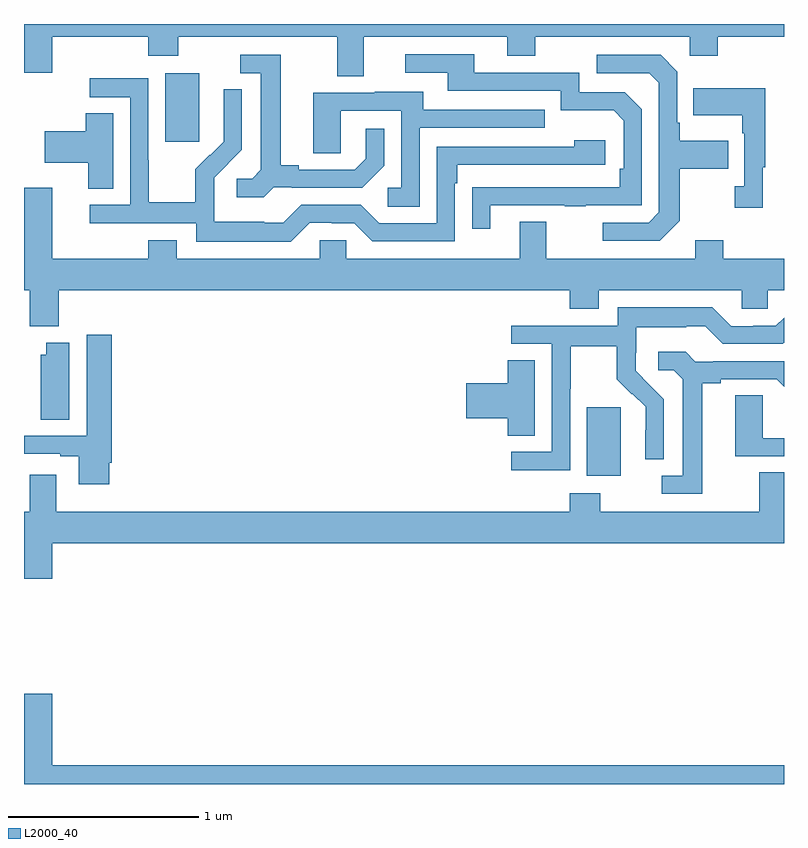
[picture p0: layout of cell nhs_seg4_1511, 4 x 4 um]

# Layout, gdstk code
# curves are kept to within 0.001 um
import gdstk
lib = gdstk.Library(unit=1e-6, precision=1e-09)
def R(c, l, rs):  # rectangles x0, y0, x1, y1
    for r in rs: c.add(gdstk.rectangle(r[:2], r[2:], *l))
def P(c, l, *ps):  # polygons
    for p in ps: c.add(gdstk.Polygon(p, *l))
L2000_40 = (2000, 40)

nhs_seg4_1511 = lib.new_cell('nhs_seg4_1511')
R(nhs_seg4_1511, L2000_40, [(191.963,782.522,192.142,782.883), (189.743,784.281,189.922,784.642)])
P(nhs_seg4_1511, L2000_40, [(190.789,784.832),(191.543,784.832),(191.543,784.733),(191.691,784.733),(191.691,784.832),(192.504,784.832),(192.504,784.733),(192.651,784.733),(192.651,784.832),(193,784.832),(193,784.9),(189,784.9),(189,784.644),(189.148,784.644),(189.148,784.832),(189.653,784.832),(189.653,784.733),(189.813,784.733),(189.813,784.832),(190.649,784.832),(190.649,784.624),(190.789,784.624)],
  [(191.455,783.945),(191.845,783.945),(191.845,783.94),(191.957,783.94),(191.957,783.945),(192.252,783.945),(192.252,784.452),(192.162,784.542),(191.922,784.542),(191.922,784.644),(191.371,784.644),(191.371,784.74),(191.007,784.74),(191.007,784.644),(191.231,784.644),(191.231,784.548),(191.826,784.548),(191.826,784.445),(192.103,784.445),(192.156,784.392),(192.156,784.138),(192.136,784.138),(192.136,784.041),(191.359,784.04),(191.359,783.822),(191.455,783.822)],
  [(190.314,784.041),(190.408,784.041),(190.408,784.038),(190.78,784.038),(190.896,784.154),(190.896,784.348),(190.799,784.348),(190.799,784.191),(190.742,784.134),(190.447,784.134),(190.447,784.157),(190.351,784.157),(190.351,784.737),(190.137,784.737),(190.137,784.641),(190.247,784.641),(190.247,784.133),(190.2,784.086),(190.119,784.086),(190.119,783.989),(190.262,783.989)],
  [(192.451,783.865),(192.451,784.138),(192.707,784.138),(192.707,784.285),(192.451,784.285),(192.451,784.381),(192.438,784.381),(192.438,784.65),(192.351,784.737),(192.015,784.737),(192.015,784.641),(192.291,784.641),(192.342,784.59),(192.342,783.909),(192.288,783.855),(192.045,783.855),(192.045,783.759),(192.345,783.759)],
  [(190.503,783.855),(190.619,783.855),(190.619,783.852),(190.737,783.852),(190.833,783.756),(191.268,783.756),(191.268,784.061),(191.281,784.061),(191.281,784.158),(192.058,784.158),(192.058,784.288),(191.897,784.288),(191.897,784.254),(191.172,784.254),(191.172,783.852),(190.869,783.852),(190.773,783.948),(190.458,783.948),(190.365,783.855),(190.265,783.855),(190.265,783.859),(190.002,783.859),(190.002,783.993),(190,783.993),(190,784.09),(190.146,784.238),(190.146,784.556),(190.05,784.556),(190.05,784.402),(190.052,784.402),(190.052,784.28),(189.981,784.209),(189.978,784.212),(189.901,784.135),(189.901,783.961),(189.657,783.961),(189.657,784.184),(189.654,784.184),(189.654,784.614),(189.345,784.614),(189.345,784.515),(189.558,784.515),(189.558,783.948),(189.345,783.948),(189.345,783.852),(189.906,783.852),(189.906,783.755),(190.403,783.755)],
  [(192.889,784.145),(192.901,784.145),(192.901,784.561),(192.523,784.561),(192.523,784.421),(192.78,784.421),(192.78,784.325),(192.792,784.325),(192.792,784.046),(192.741,784.046),(192.741,783.933),(192.889,783.933)],
  [(191.082,784.353),(191.741,784.353),(191.741,784.449),(191.101,784.449),(191.101,784.543),(190.847,784.543),(190.847,784.539),(190.523,784.539),(190.523,784.219),(190.668,784.219),(190.668,784.443),(190.986,784.443),(190.986,784.038),(190.914,784.038),(190.914,783.937),(191.082,783.937)],
  [(189.469,784.43),(189.326,784.43),(189.326,784.335),(189.108,784.335),(189.108,784.169),(189.338,784.169),(189.338,784.033),(189.469,784.033)],
  [(189.182,783.5),(191.873,783.5),(191.873,783.401),(192.025,783.401),(192.025,783.5),(192.777,783.5),(192.777,783.402),(192.915,783.402),(192.915,783.5),(193,783.5),(193,783.664),(192.681,783.664),(192.681,783.763),(192.533,783.763),(192.533,783.664),(191.749,783.664),(191.749,783.859),(191.609,783.859),(191.609,783.664),(190.695,783.664),(190.695,783.762),(190.557,783.762),(190.557,783.664),(189.805,783.664),(189.805,783.763),(189.653,783.763),(189.653,783.664),(189.148,783.664),(189.148,784.039),(189,784.039),(189,783.5),(189.029,783.5),(189.029,783.308),(189.182,783.308)],
  [(191.874,782.98),(191.877,782.98),(191.877,783.204),(192.121,783.204),(192.121,783.029),(192.198,782.952),(192.201,782.955),(192.272,782.885),(192.272,782.762),(192.27,782.762),(192.27,782.608),(192.366,782.608),(192.366,782.926),(192.22,783.074),(192.22,783.171),(192.222,783.171),(192.222,783.305),(192.485,783.305),(192.485,783.309),(192.585,783.309),(192.678,783.216),(192.993,783.216),(193,783.223),(193,783.355),(192.957,783.312),(192.839,783.312),(192.839,783.309),(192.723,783.309),(192.623,783.409),(192.126,783.409),(192.126,783.312),(191.565,783.312),(191.565,783.216),(191.778,783.216),(191.778,782.649),(191.565,782.649),(191.565,782.551),(191.874,782.551)],
  [(189.448,782.59),(189.461,782.59),(189.461,783.265),(189.329,783.265),(189.329,782.733),(189,782.733),(189,782.637),(189.191,782.637),(189.191,782.625),(189.287,782.625),(189.287,782.478),(189.448,782.478)],
  [(189.238,783.223),(189.116,783.223),(189.116,783.159),(189.089,783.159),(189.089,782.818),(189.238,782.818)],
  [(192.571,783.008),(192.667,783.008),(192.667,783.03),(192.962,783.03),(193,782.992),(193,783.126),(192.628,783.126),(192.628,783.123),(192.534,783.123),(192.482,783.175),(192.339,783.175),(192.339,783.078),(192.42,783.078),(192.467,783.031),(192.467,782.523),(192.357,782.523),(192.357,782.427),(192.571,782.427)],
  [(191.689,783.131),(191.546,783.131),(191.546,783.008),(191.328,783.008),(191.328,782.825),(191.546,782.825),(191.546,782.734),(191.689,782.734)],
  [(193,782.721),(192.888,782.721),(192.888,782.945),(192.743,782.945),(192.743,782.625),(193,782.625)],
  [(189.148,782.168),(193,782.168),(193,782.54),(192.869,782.54),(192.869,782.332),(192.033,782.332),(192.033,782.431),(191.873,782.431),(191.873,782.332),(189.169,782.332),(189.169,782.527),(189.029,782.527),(189.029,782.332),(189,782.332),(189,781.98),(189.148,781.98)],
  [(193,781),(189.148,781),(189.148,781.375),(189,781.375),(189,780.9),(193,780.9)])

lib.write_gds('nhs_seg4_1511.gds')
